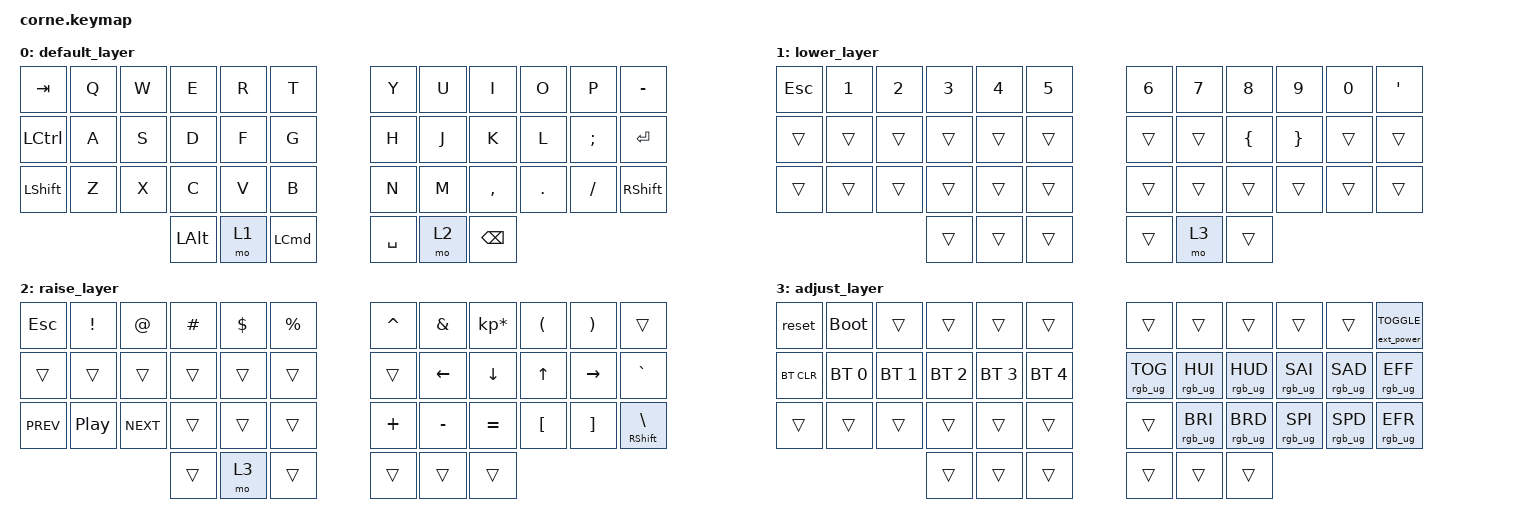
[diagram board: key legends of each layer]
/*
 * Copyright (c) 2020 The ZMK Contributors
 *
 * SPDX-License-Identifier: MIT
 */

#include <behaviors.dtsi>
#include <dt-bindings/zmk/keys.h>
#include <dt-bindings/zmk/bt.h>
#include <dt-bindings/zmk/ext_power.h>
#include <dt-bindings/zmk/rgb.h>

#define DEFAULT 0
#define LOWER  1
#define RAISE  2
#define ADJUST 3

/ {
        keymap {
                compatible = "zmk,keymap";

                default_layer {
// -----------------------------------------------------------------------------------------
// |  TAB |  Q  |  W  |  E  |  R  |  T  |   |  Y  |  U   |  I  |  O  |  P  | ' |
// | CTRL |  A  |  S  |  D  |  F  |  G  |   |  H  |  J   |  K  |  L  |  ;  | RET  |
// | SHFT |  Z  |  X  |  C  |  V  |  B  |   |  N  |  M   |  ,  |  .  |  /  | SHFT |
//                    | ALT | LWR | GUI |   | SPC | RSE  | BSPC |
                        bindings = <
   &kp TAB   &kp Q &kp W &kp E &kp R &kp T   &kp Y &kp U  &kp I     &kp O   &kp P    &kp MINUS
   &kp LCTRL &kp A &kp S &kp D &kp F &kp G   &kp H &kp J  &kp K     &kp L   &kp SEMI &kp RET
   &kp LSHFT &kp Z &kp X &kp C &kp V &kp B   &kp N &kp M  &kp COMMA &kp DOT &kp FSLH &kp RSHFT
                   &kp LALT &mo 1 &kp LCMD   &kp SPACE &mo 2 &kp BSPC
                        >;
                };
                lower_layer {
// -----------------------------------------------------------------------------------------
// |  ESC  |  1  |  2  |  3  |  4  |  5  |   |  6  |  7  |  8  |  9  |  0  |     |
// | BTCLR | BT1 | BT2 | BT3 | BT4 | BT5 |   |     | LFT | DWN |  UP | RGT |     |
// | SHFT  |     |     |     |     |     |   |     |     |     |     |     |     |
//                     |     |     |     |   |     |     |     |
                        bindings = <
   &kp ESC &kp N1 &kp N2 &kp N3 &kp N4 &kp N5  &kp N6 &kp N7 &kp N8   &kp N9   &kp N0 &kp SQT
   &trans &trans &trans &trans &trans &trans   &trans &trans &kp LBRC &kp RBRC &trans &trans
   &trans &trans &trans &trans &trans &trans   &trans &trans &trans &trans &trans &trans
                        &trans &trans &trans   &trans &mo 3    &trans
                        >;
                };

                raise_layer {
// -----------------------------------------------------------------------------------------
// |  ESC |  !  |  @  |  #  |  $  |  %  |   |  ^  |  &  |  *  |  (  |  )  | BKSP |
// | CTRL |     |     |     |     |     |   |     | LFT | DWN |  UP | RGT |  `   |
// | SHFT |     |     |     |     |     |   |  +  |  -  |  =  |  [  |  ]  |  \   |
//                    | GUI |     | SPC |   | ENT |     | ALT |
                        bindings = <
   &kp ESC    &kp EXCL &kp AT     &kp HASH  &kp DLLR  &kp PRCNT   &kp CARET &kp AMPS  &kp KP_MULTIPLY &kp LPAR &kp RPAR  &trans
   &trans     &trans   &trans     &trans    &trans    &trans      &trans    &kp LEFT  &kp DOWN        &kp UP   &kp RIGHT &kp GRAVE
   &kp C_PREV &kp C_PP &kp C_NEXT &trans    &trans    &trans      &kp PLUS  &kp MINUS &kp EQUAL       &kp LBKT &kp RBKT  &mt RSHFT BSLH
                                  &trans    &mo 3     &trans      &trans    &trans    &trans
                        >;
                };

                adjust_layer {
// -----------------------------------------------------------------------------------------
// |  ESC |  !  |  @  |  #  |  $  |  %  |   |  ^  |  &  |  *  |  (  |  )  | BKSP |
// | CTRL |     |     |     |     |     |   |  -  |  =  |  {  |  }  | "|" |  `   |
// | SHFT |     |     |     |     |     |   |  _  |  +  |  [  |  ]  |  \  |  ~   |
//                    | GUI |     | SPC |   | ENT |     | ALT |
                        bindings = <
   &reset     &bootloader  &trans       &trans       &trans       &trans        &trans          &trans          &trans          &trans          &trans          &ext_power EXT_POWER_TOGGLE_CMD
   &bt BT_CLR &bt BT_SEL 0 &bt BT_SEL 1 &bt BT_SEL 2 &bt BT_SEL 3 &bt BT_SEL 4  &rgb_ug RGB_TOG &rgb_ug RGB_HUI &rgb_ug RGB_HUD &rgb_ug RGB_SAI &rgb_ug RGB_SAD &rgb_ug RGB_EFF
   &trans     &trans       &trans       &trans       &trans       &trans        &trans          &rgb_ug RGB_BRI &rgb_ug RGB_BRD &rgb_ug RGB_SPI &rgb_ug RGB_SPD &rgb_ug RGB_EFR
                                        &trans       &trans       &trans        &trans          &trans          &trans
                        >;
                };
        };
};
